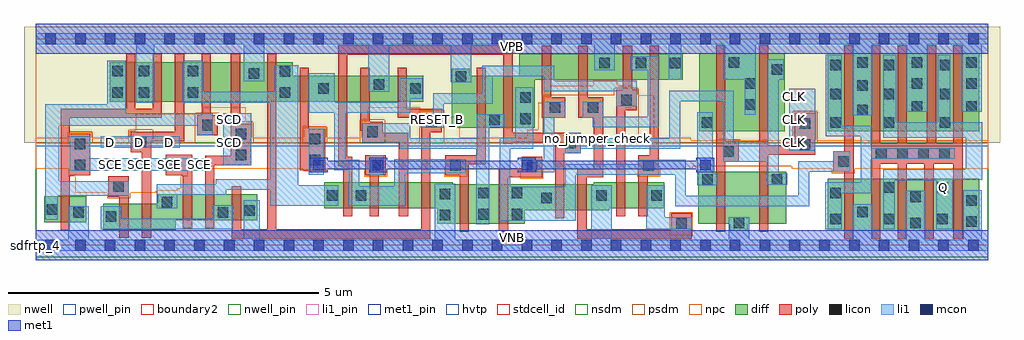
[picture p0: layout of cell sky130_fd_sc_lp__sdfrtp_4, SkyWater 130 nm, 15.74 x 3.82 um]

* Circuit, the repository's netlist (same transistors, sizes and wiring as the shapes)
* Copyright 2020 The SkyWater PDK Authors
*
* Licensed under the Apache License, Version 2.0 (the "License");
* you may not use this file except in compliance with the License.
* You may obtain a copy of the License at
*
*     https://www.apache.org/licenses/LICENSE-2.0
*
* Unless required by applicable law or agreed to in writing, software
* distributed under the License is distributed on an "AS IS" BASIS,
* WITHOUT WARRANTIES OR CONDITIONS OF ANY KIND, either express or implied.
* See the License for the specific language governing permissions and
* limitations under the License.
*
* SPDX-License-Identifier: Apache-2.0

.SUBCKT sky130_fd_sc_lp__sdfrtp_4 CLK D RESET_B SCD SCE VGND VNB VPB VPWR Q
*.PININFO CLK:I D:I RESET_B:I SCD:I SCE:I VGND:I VNB:I VPB:I VPWR:I
*.PININFO Q:O
MI642 clkneg CLK VGND VNB sky130_fd_pr__nfet_01v8 m=1 w=0.84U l=0.15U mult=1 sa=0.265
+ sb=0.265 sd=0.28 area=0.063 perim=1.14
MI636 clkpos clkneg VGND VNB sky130_fd_pr__nfet_01v8 m=1 w=0.84U l=0.15U mult=1
+ sa=0.265 sb=0.265 sd=0.28 area=0.063 perim=1.14
MI42 db clkneg M0 VNB sky130_fd_pr__nfet_01v8 m=1 w=0.42U l=0.15U mult=1 sa=0.265
+ sb=0.265 sd=0.28 area=0.063 perim=1.14
MI656 net062 s0 net048 VNB sky130_fd_pr__nfet_01v8 m=1 w=0.42U l=0.15U mult=1 sa=0.265
+ sb=0.265 sd=0.28 area=0.063 perim=1.14
MI657 net048 RESET_B VGND VNB sky130_fd_pr__nfet_01v8 m=1 w=0.42U l=0.15U mult=1
+ sa=0.265 sb=0.265 sd=0.28 area=0.063 perim=1.14
MI33 net069 RESET_B VGND VNB sky130_fd_pr__nfet_01v8 m=1 w=0.42U l=0.15U mult=1
+ sa=0.265 sb=0.265 sd=0.28 area=0.063 perim=1.14
MI634 sceb SCE VGND VNB sky130_fd_pr__nfet_01v8 m=1 w=0.42U l=0.15U mult=1 sa=0.265
+ sb=0.265 sd=0.28 area=0.063 perim=1.14
MI4 M0 clkpos net077 VNB sky130_fd_pr__nfet_01v8 m=1 w=0.42U l=0.15U mult=1 sa=0.265
+ sb=0.265 sd=0.28 area=0.063 perim=1.14
MI34 net077 M1 net069 VNB sky130_fd_pr__nfet_01v8 m=1 w=0.42U l=0.15U mult=1 sa=0.265
+ sb=0.265 sd=0.28 area=0.063 perim=1.14
MI655 s0 clkneg net061 VNB sky130_fd_pr__nfet_01v8 m=1 w=0.42U l=0.15U mult=1 sa=0.265
+ sb=0.265 sd=0.28 area=0.063 perim=1.14
MI652 net041 s0 VGND VNB sky130_fd_pr__nfet_01v8 m=1 w=0.84U l=0.15U mult=1 sa=0.265
+ sb=0.265 sd=0.28 area=0.063 perim=1.14
MI653 Q net041 VGND VNB sky130_fd_pr__nfet_01v8 m=4 w=0.84U l=0.15U mult=1 sa=0.265
+ sb=0.265 sd=0.28 area=0.063 perim=1.14
MI654 net061 net062 VGND VNB sky130_fd_pr__nfet_01v8 m=1 w=0.42U l=0.15U mult=1
+ sa=0.265 sb=0.265 sd=0.28 area=0.063 perim=1.14
MI647 M1 M0 VGND VNB sky130_fd_pr__nfet_01v8 m=1 w=0.64U l=0.15U mult=1 sa=0.265
+ sb=0.265 sd=0.28 area=0.063 perim=1.14
MI649 M1 clkpos s0 VNB sky130_fd_pr__nfet_01v8 m=1 w=0.64U l=0.15U mult=1 sa=0.265
+ sb=0.265 sd=0.28 area=0.063 perim=1.14
MI666 net84 RESET_B VGND VNB sky130_fd_pr__nfet_01v8 m=1 w=0.42U l=0.15U mult=1
+ sa=0.265 sb=0.265 sd=0.28 area=0.525 perim=3.1
MI98 db D n0 VNB sky130_fd_pr__nfet_01v8 m=1 w=0.42U l=0.15U mult=1 sa=0.265 sb=0.265
+ sd=0.28 area=0.525 perim=3.1
MI103 n1 SCD net84 VNB sky130_fd_pr__nfet_01v8 m=1 w=0.42U l=0.15U mult=1 sa=0.265
+ sb=0.265 sd=0.28 area=0.525 perim=3.1
MI120 db SCE n1 VNB sky130_fd_pr__nfet_01v8 m=1 w=0.42U l=0.15U mult=1 sa=0.265
+ sb=0.265 sd=0.28 area=0.525 perim=3.1
MI104 n0 sceb net84 VNB sky130_fd_pr__nfet_01v8 m=1 w=0.42U l=0.15U mult=1 sa=0.265
+ sb=0.265 sd=0.28 area=0.525 perim=3.1
MI643 clkneg CLK VPWR VPB sky130_fd_pr__pfet_01v8_hvt m=1 w=1.26U l=0.15U mult=1
+ sa=0.265 sb=0.265 sd=0.28 area=0.063 perim=1.14
MI635 clkpos clkneg VPWR VPB sky130_fd_pr__pfet_01v8_hvt m=1 w=1.26U l=0.15U mult=1
+ sa=0.265 sb=0.265 sd=0.28 area=0.063 perim=1.14
MI43 db clkpos M0 VPB sky130_fd_pr__pfet_01v8_hvt m=1 w=0.42U l=0.15U mult=1 sa=0.265
+ sb=0.265 sd=0.28 area=0.063 perim=1.14
MI662 net0133 net062 VPWR VPB sky130_fd_pr__pfet_01v8_hvt m=1 w=0.42U l=0.15U mult=1
+ sa=0.265 sb=0.265 sd=0.28 area=0.063 perim=1.14
MI659 net062 RESET_B VPWR VPB sky130_fd_pr__pfet_01v8_hvt m=1 w=0.42U l=0.15U mult=1
+ sa=0.265 sb=0.265 sd=0.28 area=0.063 perim=1.14
MI664 s0 clkpos net0133 VPB sky130_fd_pr__pfet_01v8_hvt m=1 w=0.42U l=0.15U mult=1
+ sa=0.265 sb=0.265 sd=0.28 area=0.063 perim=1.14
MI658 net062 s0 VPWR VPB sky130_fd_pr__pfet_01v8_hvt m=1 w=0.42U l=0.15U mult=1
+ sa=0.265 sb=0.265 sd=0.28 area=0.063 perim=1.14
MI30 net0156 M1 VPWR VPB sky130_fd_pr__pfet_01v8_hvt m=1 w=0.42U l=0.15U mult=1
+ sa=0.265 sb=0.265 sd=0.28 area=0.063 perim=1.14
MI31 M0 clkneg net0156 VPB sky130_fd_pr__pfet_01v8_hvt m=1 w=0.42U l=0.15U mult=1
+ sa=0.265 sb=0.265 sd=0.28 area=0.063 perim=1.14
MI32 M0 RESET_B VPWR VPB sky130_fd_pr__pfet_01v8_hvt m=1 w=0.42U l=0.15U mult=1
+ sa=0.265 sb=0.265 sd=0.28 area=0.063 perim=1.14
MI663 net041 s0 VPWR VPB sky130_fd_pr__pfet_01v8_hvt m=1 w=1.26U l=0.15U mult=1
+ sa=0.265 sb=0.265 sd=0.28 area=0.063 perim=1.14
MI660 Q net041 VPWR VPB sky130_fd_pr__pfet_01v8_hvt m=4 w=1.26U l=0.15U mult=1
+ sa=0.265 sb=0.265 sd=0.28 area=0.063 perim=1.14
MI648 M1 M0 VPWR VPB sky130_fd_pr__pfet_01v8_hvt m=1 w=0.84U l=0.15U mult=1 sa=0.265
+ sb=0.265 sd=0.28 area=0.063 perim=1.14
MI650 M1 clkneg s0 VPB sky130_fd_pr__pfet_01v8_hvt m=1 w=0.84U l=0.15U mult=1 sa=0.265
+ sb=0.265 sd=0.28 area=0.063 perim=1.14
MI633 sceb SCE VPWR VPB sky130_fd_pr__pfet_01v8_hvt m=1 w=0.64U l=0.15U mult=1
+ sa=0.265 sb=0.265 sd=0.28 area=0.063 perim=1.14
MI101 db sceb p1 VPB sky130_fd_pr__pfet_01v8_hvt m=1 w=0.64U l=0.15U mult=1 sa=0.265
+ sb=0.265 sd=0.28 area=0.063 perim=1.14
MI107 p0 SCE VPWR VPB sky130_fd_pr__pfet_01v8_hvt m=1 w=0.64U l=0.15U mult=1 sa=0.265
+ sb=0.265 sd=0.28 area=0.063 perim=1.14
MI94 db D p0 VPB sky130_fd_pr__pfet_01v8_hvt m=1 w=0.64U l=0.15U mult=1 sa=0.265
+ sb=0.265 sd=0.28 area=0.063 perim=1.14
MI108 p1 SCD VPWR VPB sky130_fd_pr__pfet_01v8_hvt m=1 w=0.64U l=0.15U mult=1 sa=0.265
+ sb=0.265 sd=0.28 area=0.063 perim=1.14
MI665 db RESET_B VPWR VPB sky130_fd_pr__pfet_01v8_hvt m=1 w=0.64U l=0.15U mult=1
+ sa=0.265 sb=0.265 sd=0.28 area=0.063 perim=1.14
.ENDS sky130_fd_sc_lp__sdfrtp_4

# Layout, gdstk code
import gdstk
lib = gdstk.Library(unit=1e-6, precision=1e-09)
def R(c, l, rs):  # rectangles x0, y0, x1, y1
    for r in rs: c.add(gdstk.rectangle(r[:2], r[2:], *l))
def A(c, l, x, y, w, h, nx, ny, dx, dy):  # array of equal rectangles
    R(c, l, [(x+i*dx, y+j*dy, x+i*dx+w, y+j*dy+h) for i in range(nx) for j in range(ny)])
def P(c, l, *ps):  # polygons
    for p in ps: c.add(gdstk.Polygon(p, *l))
nwell_pin = (64, 16)
nwell = (64, 20)
diff = (65, 20)
poly = (66, 20)
licon = (66, 44)
li1_pin = (67, 16)
li1 = (67, 20)
mcon = (67, 44)
met1_pin = (68, 16)
met1 = (68, 20)
hvtp = (78, 44)
stdcell_id = (81, 4)
nsdm = (93, 44)
psdm = (94, 20)
npc = (95, 20)
pwell_pin = (122, 16)
boundary2 = (236, 0)

sky130_fd_sc_lp__sdfrtp_ = lib.new_cell('sky130_fd_sc_lp__sdfrtp_4')
R(sky130_fd_sc_lp__sdfrtp_, nwell_pin, [(0,3.085,15.36,3.33)])
R(sky130_fd_sc_lp__sdfrtp_, nwell, [(-0.19,1.655,15.55,3.52)])
R(sky130_fd_sc_lp__sdfrtp_, diff, [(12.775,0.235,15.215,1.075), (0.135,0.37,0.815,0.79), (10.7,1.835,12.08,3.095), (12.775,1.835,15.215,3.095)])
P(sky130_fd_sc_lp__sdfrtp_, diff, [(6.25,2.735),(4.145,2.735),(4.145,2.955),(1.19,2.955),(1.19,2.315),(6.25,2.315)],
  [(10.43,3.085),(7.8,3.085),(7.8,2.735),(7,2.735),(7,2.845),(6.71,2.845),(6.71,1.895),(8.05,1.895),(8.05,2.665),(10.43,2.665)],
  [(10.135,1.015),(8.995,1.015),(8.995,0.985),(6.725,0.985),(6.725,1.015),(4.655,1.015),(4.655,0.595),(6.475,0.595),(6.475,0.345),(7.885,0.345),(7.885,0.565),(9.245,0.565),(9.245,0.595),(10.135,0.595)],
  [(3.575,0.825),(1.97,0.825),(1.97,0.67),(1.085,0.67),(1.085,0.25),(2.26,0.25),(2.26,0.405),(3.575,0.405)],
  [(12.1,1.185),(10.685,1.185),(10.685,0.345),(11.195,0.345),(11.195,0.235),(11.485,0.235),(11.485,0.345),(12.1,0.345)])
P(sky130_fd_sc_lp__sdfrtp_, poly, [(3.475,1.96),(3.295,1.96),(3.295,3.085),(3.145,3.085),(3.145,1.44),(2.73,1.44),(2.73,0.275),(2.88,0.275),(2.88,1.29),(3.475,1.29)],
  [(1.5,1.11),(1.17,1.11),(1.17,0.78),(1.35,0.78),(1.35,0.12),(1.5,0.12)],
  [(2.035,3.085),(1.885,3.085),(1.885,2.205),(1.605,2.205),(1.605,3.085),(1.455,3.085),(1.455,2.205),(0.4,2.205),(0.4,0.24),(0.55,0.24),(0.55,1.13),(0.88,1.13),(0.88,1.8),(0.55,1.8),(0.55,2.055),(2.035,2.055)],
  [(2.395,3.085),(2.245,3.085),(2.245,1.83),(1.53,1.83),(1.53,1.5),(1.71,1.5),(1.71,0.12),(1.86,0.12),(1.86,1.68),(2.395,1.68)],
  [(2.52,1.46),(2.1,1.46),(2.1,1.13),(2.37,1.13),(2.37,0.275),(2.52,0.275)],
  [(4.665,1.88),(4.405,1.88),(4.405,2.865),(4.255,2.865),(4.255,1.21),(4.665,1.21)],
  [(8.165,1.425),(7.835,1.425),(7.835,1.245),(7.47,1.245),(7.47,0.215),(7.62,0.215),(7.62,1.095),(8.165,1.095)],
  [(2.935,2.1),(2.825,2.1),(2.825,3.085),(2.675,3.085),(2.675,2.1),(2.605,2.1),(2.605,1.77),(2.935,1.77)],
  [(8.54,2.385),(8.31,2.385),(8.31,3.215),(8.16,3.215),(8.16,2.055),(8.54,2.055)],
  [(8.79,1.815),(7.69,1.815),(7.69,3.225),(4.875,3.225),(4.875,1.275),(4.955,1.275),(4.955,0.465),(5.105,0.465),(5.105,1.425),(5.025,1.425),(5.025,3.075),(7.54,3.075),(7.54,1.635),(7.69,1.635),(7.69,1.665),(8.375,1.665),(8.375,0.435),(8.525,0.435),(8.525,1.485),(8.79,1.485)],
  [(5.645,1.455),(5.315,1.455),(5.315,1.125),(5.385,1.125),(5.385,0.465),(5.535,0.465),(5.535,1.125),(5.645,1.125)],
  [(6.005,1.815),(5.595,1.815),(5.595,1.995),(5.385,1.995),(5.385,2.865),(5.235,2.865),(5.235,1.845),(5.265,1.845),(5.265,1.665),(5.855,1.665),(5.855,0.465),(6.005,0.465)],
  [(6.55,2.205),(5.985,2.205),(5.985,2.865),(5.835,2.865),(5.835,2.055),(6.215,2.055),(6.215,0.255),(3.88,0.255),(3.88,3.085),(3.73,3.085),(3.73,0.255),(3.31,0.255),(3.31,0.955),(3.16,0.955),(3.16,0.105),(6.365,0.105),(6.365,1.825),(6.55,1.825)],
  [(7.26,2.865),(7.11,2.865),(7.11,1.455),(6.605,1.455),(6.605,1.125),(6.835,1.125),(6.835,0.215),(6.985,0.215),(6.985,1.305),(7.26,1.305)],
  [(9.69,2.505),(9.62,2.505),(9.62,3.215),(9.47,3.215),(9.47,2.505),(9.36,2.505),(9.36,0.465),(9.51,0.465),(9.51,2.175),(9.69,2.175)],
  [(10.05,3.215),(9.9,3.215),(9.9,1.455),(9.72,1.455),(9.72,0.465),(9.87,0.465),(9.87,1.125),(10.05,1.125)],
  [(10.575,0.515),(10.245,0.515),(10.245,0.255),(8.885,0.255),(8.885,1.095),(9.15,1.095),(9.15,2.385),(8.9,2.385),(8.9,3.215),(8.75,3.215),(8.75,2.055),(9,2.055),(9,1.245),(8.735,1.245),(8.735,0.105),(10.575,0.105)],
  [(11.34,1.675),(11.12,1.675),(11.12,3.225),(10.97,3.225),(10.97,0.215),(11.12,0.215),(11.12,1.345),(11.34,1.345)],
  [(12.57,2.13),(12.24,2.13),(12.24,1.61),(11.815,1.61),(11.815,3.225),(11.665,3.225),(11.665,0.215),(11.815,0.215),(11.815,1.46),(12.57,1.46)],
  [(13.19,3.225),(13.04,3.225),(13.04,1.515),(12.86,1.515),(12.86,1.185),(13.04,1.185),(13.04,0.105),(13.19,0.105)],
  [(14.95,3.225),(14.8,3.225),(14.8,1.645),(14.52,1.645),(14.52,3.225),(14.37,3.225),(14.37,1.645),(14.05,1.645),(14.05,3.225),(13.9,3.225),(13.9,1.645),(13.62,1.645),(13.62,3.225),(13.47,3.225),(13.47,0.105),(13.62,0.105),(13.62,1.315),(13.9,1.315),(13.9,0.105),(14.05,0.105),(14.05,1.315),(14.33,1.315),(14.33,0.105),(14.48,0.105),(14.48,1.315),(14.8,1.315),(14.8,0.105),(14.95,0.105)])
A(sky130_fd_sc_lp__sdfrtp_, licon, 12.815, 0.335, 0.17, 0.17, 3, 1, 0.86, 0)
A(sky130_fd_sc_lp__sdfrtp_, licon, 13.55, 1.395, 0.17, 0.17, 4, 1, 0.34, 0)
A(sky130_fd_sc_lp__sdfrtp_, licon, 13.245, 2.865, 0.17, 0.17, 3, 1, 0.88, 0)
R(sky130_fd_sc_lp__sdfrtp_, licon, [(10.325,0.265,10.495,0.435), (11.255,0.275,11.425,0.445), (14.105,0.275,14.275,0.445), (15.005,0.295,15.175,0.465), (1.125,0.375,1.295,0.545), (6.515,0.405,6.685,0.575), (7.135,0.415,7.305,0.585), (7.675,0.415,7.845,0.585), (0.605,0.44,0.775,0.61), (2.935,0.445,3.105,0.615), (13.245,0.45,13.415,0.62), (3.365,0.475,3.535,0.645), (0.175,0.495,0.345,0.665), (2.03,0.615,2.2,0.785), (15.005,0.635,15.175,0.805), (8.15,0.68,8.32,0.85), (14.105,0.695,14.275,0.865), (9.035,0.715,9.205,0.885), (9.925,0.715,10.095,0.885), (4.695,0.72,4.865,0.89), (5.16,0.72,5.33,0.89), (6.515,0.745,6.685,0.915), (7.135,0.755,7.305,0.925), (7.675,0.755,7.845,0.925), (12.815,0.755,12.985,0.925), (13.675,0.845,13.845,1.015), (14.535,0.845,14.705,1.015), (1.25,0.86,1.42,1.03), (10.745,0.975,10.915,1.145), (11.87,0.975,12.04,1.145), (7.915,1.175,8.085,1.345), (5.395,1.205,5.565,1.375), (6.685,1.205,6.855,1.375), (9.8,1.205,9.97,1.375), (0.63,1.21,0.8,1.38), (2.18,1.21,2.35,1.38), (12.94,1.265,13.11,1.435), (4.415,1.29,4.585,1.46), (3.225,1.37,3.395,1.54), (11.09,1.425,11.26,1.595), (12.32,1.54,12.49,1.71), (0.63,1.55,0.8,1.72), (8.54,1.565,8.71,1.735), (1.61,1.58,1.78,1.75), (4.415,1.63,4.585,1.8), (3.225,1.71,3.395,1.88), (5.345,1.745,5.515,1.915), (2.685,1.85,2.855,2.02), (12.32,1.88,12.49,2.05), (10.74,1.895,10.91,2.065), (12.815,1.895,12.985,2.065), (13.675,1.895,13.845,2.065), (14.575,1.895,14.745,2.065), (6.3,1.905,6.47,2.075), (7.315,1.935,7.485,2.105), (7.815,1.955,7.985,2.125), (13.245,2.095,13.415,2.265), (8.29,2.135,8.46,2.305), (8.9,2.135,9.07,2.305), (14.125,2.155,14.295,2.325), (15.005,2.155,15.175,2.325), (11.44,2.185,11.61,2.355), (9.44,2.255,9.61,2.425), (7.815,2.295,7.985,2.465), (12.815,2.355,12.985,2.525), (13.675,2.355,13.845,2.525), (14.575,2.355,14.745,2.525), (1.23,2.375,1.4,2.545), (1.66,2.375,1.83,2.545), (2.45,2.375,2.62,2.545), (3.935,2.375,4.105,2.545), (4.555,2.44,4.725,2.61), (6.04,2.44,6.21,2.61), (13.245,2.49,13.415,2.66), (5.45,2.505,5.62,2.675), (11.44,2.525,11.61,2.695), (14.125,2.525,14.295,2.695), (15.005,2.525,15.175,2.695), (6.77,2.635,6.94,2.805), (3.435,2.685,3.605,2.855), (3.935,2.715,4.105,2.885), (1.23,2.725,1.4,2.895), (1.66,2.725,1.83,2.895), (2.45,2.725,2.62,2.895), (11.87,2.75,12.04,2.92), (12.815,2.825,12.985,2.995), (13.675,2.825,13.845,2.995), (14.575,2.825,14.745,2.995), (9.085,2.855,9.255,3.025), (9.675,2.855,9.845,3.025), (10.22,2.855,10.39,3.025), (11.175,2.865,11.345,3.035)])
A(sky130_fd_sc_lp__sdfrtp_, li1_pin, 1.115, 1.21, 0.17, 0.17, 4, 1, 0.48, 0)
A(sky130_fd_sc_lp__sdfrtp_, li1_pin, 1.115, 1.58, 0.17, 0.17, 3, 1, 0.48, 0)
A(sky130_fd_sc_lp__sdfrtp_, li1_pin, 12.155, 1.58, 0.17, 0.17, 1, 3, 0, 0.37)
R(sky130_fd_sc_lp__sdfrtp_, li1_pin, [(14.555,0.84,14.725,1.01), (3.035,1.58,3.205,1.75), (3.035,1.95,3.205,2.12), (6.395,1.95,6.565,2.12)])
R(sky130_fd_sc_lp__sdfrtp_, li1, [(5.385,1.125,5.615,1.455), (4.405,1.14,4.645,1.88), (3.025,1.29,3.475,2.125), (12.155,1.525,12.57,2.525), (1.05,1.57,2.325,1.76)])
P(sky130_fd_sc_lp__sdfrtp_, li1, [(8.955,0.085),(8.955,0.965),(9.285,0.965),(9.285,0.085),(11.175,0.085),(11.175,0.455),(11.505,0.455),(11.505,0.085),(13.165,0.085),(13.165,0.665),(13.495,0.665),(13.495,0.085),(14.025,0.085),(14.025,0.875),(14.355,0.875),(14.355,0.085),(14.96,0.085),(14.96,0.885),(15.255,0.885),(15.255,0.085),(15.36,0.085),(15.36,-0.085),(0,-0.085),(0,0.085),(0.525,0.085),(0.525,0.625),(0.855,0.625),(0.855,0.085),(3.355,0.085),(3.355,0.725),(3.615,0.725),(3.615,0.085),(6.435,0.085),(6.435,0.995),(6.765,0.995),(6.765,0.085)],
  [(13.305,1.015),(13.305,1.755),(12.74,1.755),(12.74,3.075),(12.995,3.075),(12.995,1.925),(13.475,1.925),(13.475,1.565),(14.82,1.565),(14.82,1.395),(13.475,1.395),(13.475,0.835),(12.995,0.835),(12.995,0.255),(12.735,0.255),(12.735,1.015)],
  [(8.19,1.38),(8.19,2.315),(8.54,2.315),(8.54,2.055),(8.36,2.055),(8.36,1.175),(7.835,1.175),(7.835,1.38)],
  [(5.045,0.64),(5.045,1.21),(4.815,1.21),(4.815,2.135),(4.405,2.135),(4.405,2.775),(4.825,2.775),(4.825,2.305),(5.87,2.305),(5.87,2.69),(6.24,2.69),(6.24,2.36),(6.04,2.36),(6.04,2.135),(4.995,2.135),(4.995,1.38),(5.215,1.38),(5.215,0.955),(5.785,0.955),(5.785,1.385),(6.935,1.385),(6.935,1.165),(5.955,1.165),(5.955,0.64)],
  [(9.845,0.255),(9.845,0.965),(10.145,0.965),(10.145,0.455),(10.575,0.455),(10.575,0.255)],
  [(0.88,1.4),(2.805,1.4),(2.805,1.205),(0.55,1.205),(0.55,1.76),(0.88,1.76)],
  [(8.36,2.895),(8.36,2.655),(9.69,2.655),(9.69,2.245),(9.36,2.245),(9.36,2.485),(8.19,2.485),(8.19,2.725),(7.37,2.725),(7.37,2.285),(6.58,2.285),(6.58,1.895),(6.21,1.895),(6.21,2.13),(6.41,2.13),(6.41,2.455),(7.2,2.455),(7.2,2.895)],
  [(3.855,2.475),(3.855,2.905),(4.235,2.905),(4.235,0.97),(4.875,0.97),(4.875,0.64),(3.785,0.64),(3.785,0.895),(3.075,0.895),(3.075,0.815),(2.28,0.815),(2.28,0.595),(1.95,0.595),(1.95,0.985),(2.905,0.985),(2.905,1.065),(3.78,1.065),(3.78,2.295),(2.37,2.295),(2.37,2.975),(2.7,2.975),(2.7,2.475)],
  [(6.04,1.965),(6.04,1.725),(7.115,1.725),(7.115,2.115),(7.565,2.115),(7.565,1.9),(7.315,1.9),(7.315,0.335),(7.105,0.335),(7.105,1.555),(5.87,1.555),(5.87,1.665),(5.265,1.665),(5.265,1.965)],
  [(13.875,1.985),(14.545,1.985),(14.545,3.075),(14.745,3.075),(14.745,1.985),(15.26,1.985),(15.26,1.055),(14.79,1.055),(14.79,0.255),(14.525,0.255),(14.525,1.045),(13.855,1.045),(13.855,0.255),(13.665,0.255),(13.665,1.225),(15,1.225),(15,1.735),(13.665,1.735),(13.665,3.075),(13.875,3.075)],
  [(10.92,1.165),(10.995,1.165),(10.995,0.965),(10.665,0.965),(10.665,2.145),(10.92,2.145)],
  [(9.87,2.075),(9.87,2.825),(9.595,2.825),(9.595,3.045),(10.04,3.045),(10.04,1.905),(8.98,1.905),(8.98,2.055),(8.82,2.055),(8.82,2.315),(9.15,2.315),(9.15,2.075)],
  [(7.735,1.73),(7.735,2.545),(8.02,2.545),(8.02,1.56),(7.655,1.56),(7.655,0.945),(8.54,0.945),(8.54,1.305),(9.72,1.305),(9.72,1.375),(10.485,1.375),(10.485,0.795),(12.3,0.795),(12.3,1.355),(12.86,1.355),(12.86,1.515),(13.135,1.515),(13.135,1.185),(12.47,1.185),(12.47,0.625),(10.315,0.625),(10.315,1.135),(8.71,1.135),(8.71,0.395),(7.485,0.395),(7.485,1.73)],
  [(1.15,2.275),(1.15,2.975),(1.45,2.975),(1.45,2.125),(2.855,2.125),(2.855,1.77),(2.605,1.77),(2.605,1.93),(0.38,1.93),(0.38,1.03),(1.5,1.03),(1.5,0.795),(0.355,0.795),(0.355,0.415),(0.155,0.415),(0.155,2.275)],
  [(11.79,1.345),(11.09,1.345),(11.09,2.325),(10.39,2.325),(10.39,1.555),(8.79,1.555),(8.79,1.485),(8.53,1.485),(8.53,1.815),(8.79,1.815),(8.79,1.725),(10.22,1.725),(10.22,2.495),(11.26,2.495),(11.26,1.675),(11.805,1.675),(11.805,3),(12.06,3),(12.06,2.67),(11.985,2.67),(11.985,1.165),(12.12,1.165),(12.12,0.975),(11.79,0.975)],
  [(1.375,0.425),(2.855,0.425),(2.855,0.645),(3.185,0.645),(3.185,0.255),(1.045,0.255),(1.045,0.625),(1.375,0.625)],
  [(15.36,3.415),(0,3.415),(0,3.245),(1.62,3.245),(1.62,2.295),(1.91,2.295),(1.91,3.245),(3.355,3.245),(3.355,2.645),(3.685,2.645),(3.685,3.245),(5.36,3.245),(5.36,2.475),(5.7,2.475),(5.7,3.245),(6.69,3.245),(6.69,2.625),(7.02,2.625),(7.02,3.245),(9.005,3.245),(9.005,2.825),(9.335,2.825),(9.335,3.245),(10.21,3.245),(10.21,2.665),(10.41,2.665),(10.41,3.245),(11.095,3.245),(11.095,2.665),(11.43,2.665),(11.43,2.105),(11.61,2.105),(11.61,3.245),(13.165,3.245),(13.165,2.095),(13.495,2.095),(13.495,3.245),(14.045,3.245),(14.045,2.155),(14.375,2.155),(14.375,3.245),(14.925,3.245),(14.925,2.155),(15.255,2.155),(15.255,3.245),(15.36,3.245)])
A(sky130_fd_sc_lp__sdfrtp_, mcon, 0.155, -0.085, 0.17, 0.17, 32, 2, 0.48, 3.33)
R(sky130_fd_sc_lp__sdfrtp_, mcon, [(4.475,1.21,4.645,1.38), (5.435,1.21,5.605,1.38), (7.835,1.21,8.005,1.38), (10.715,1.21,10.885,1.38)])
R(sky130_fd_sc_lp__sdfrtp_, met1_pin, [(0,0,15.36,0.245), (0,3.085,15.36,3.33)])
R(sky130_fd_sc_lp__sdfrtp_, met1, [(0,-0.245,15.36,0.245), (0,3.085,15.36,3.575)])
P(sky130_fd_sc_lp__sdfrtp_, met1, [(4.705,1.365),(5.375,1.365),(5.375,1.41),(5.665,1.41),(5.665,1.365),(7.775,1.365),(7.775,1.41),(8.065,1.41),(8.065,1.365),(10.655,1.365),(10.655,1.41),(10.945,1.41),(10.945,1.18),(10.655,1.18),(10.655,1.225),(8.065,1.225),(8.065,1.18),(7.775,1.18),(7.775,1.225),(5.665,1.225),(5.665,1.18),(5.375,1.18),(5.375,1.225),(4.705,1.225),(4.705,1.18),(4.415,1.18),(4.415,1.41),(4.705,1.41)])
R(sky130_fd_sc_lp__sdfrtp_, hvtp, [(0,1.6,15.36,3.33)])
R(sky130_fd_sc_lp__sdfrtp_, stdcell_id, [(0,0,15.36,3.33)])
R(sky130_fd_sc_lp__sdfrtp_, nsdm, [(0,-0.19,15.36,1.655)])
P(sky130_fd_sc_lp__sdfrtp_, psdm, [(15.36,3.52),(0,3.52),(0,1.655),(0.52,1.655),(0.52,1.83),(0.91,1.83),(0.91,1.655),(1.5,1.655),(1.5,1.86),(1.89,1.86),(1.89,1.655),(2.575,1.655),(2.575,2.13),(2.965,2.13),(2.965,1.99),(3.505,1.99),(3.505,1.655),(4.305,1.655),(4.305,1.91),(4.695,1.91),(4.695,1.655),(5.235,1.655),(5.235,2.025),(5.625,2.025),(5.625,1.655),(6.19,1.655),(6.19,2.185),(6.58,2.185),(6.58,1.655),(8.18,1.655),(8.18,2.415),(9.33,2.415),(9.33,2.535),(9.72,2.535),(9.72,1.655),(10.98,1.655),(10.98,1.705),(11.37,1.705),(11.37,1.655),(12.21,1.655),(12.21,2.16),(12.6,2.16),(12.6,1.655),(13.44,1.655),(13.44,1.675),(14.85,1.675),(14.85,1.655),(15.36,1.655)])
R(sky130_fd_sc_lp__sdfrtp_, npc, [(10.225,0.165,10.595,0.535)])
P(sky130_fd_sc_lp__sdfrtp_, npc, [(15.36,1.695),(12.59,1.695),(12.59,2.15),(12.22,2.15),(12.22,1.695),(10.56,1.695),(10.56,1.73),(9.975,1.73),(9.975,2.42),(9.71,2.42),(9.71,2.525),(9.605,2.525),(9.605,2.575),(9.38,2.575),(9.38,2.67),(8.99,2.67),(8.99,2.575),(8.295,2.575),(8.295,2.405),(8.19,2.405),(8.19,2.3),(8.1,2.3),(8.1,1.865),(7.925,1.865),(7.925,1.73),(6.835,1.73),(6.835,2.07),(6.57,2.07),(6.57,2.175),(6.2,2.175),(6.2,2.225),(5.35,2.225),(5.35,2.015),(5.245,2.015),(5.245,1.73),(4.685,1.73),(4.685,1.9),(4.315,1.9),(4.315,1.73),(3.495,1.73),(3.495,1.98),(3.39,1.98),(3.39,2.225),(2.69,2.225),(2.69,2.12),(2.585,2.12),(2.585,2.115),(1.615,2.115),(1.615,1.85),(1.51,1.85),(1.51,1.73),(0.9,1.73),(0.9,1.82),(0.53,1.82),(0.53,1.73),(0,1.73),(0,1.23),(0.53,1.23),(0.53,1.11),(0.635,1.11),(0.635,0.88),(0.64,0.88),(0.64,0.845),(1.15,0.845),(1.15,0.76),(1.52,0.76),(1.52,0.845),(1.94,0.845),(1.94,0.875),(2.28,0.875),(2.28,0.915),(2.345,0.915),(2.345,1.11),(2.45,1.11),(2.45,1.23),(4.315,1.23),(4.315,1.19),(4.685,1.19),(4.685,1.23),(5.295,1.23),(5.295,1.105),(5.665,1.105),(5.665,1.23),(6.585,1.23),(6.585,1.105),(6.955,1.105),(6.955,1.23),(7.815,1.23),(7.815,1.075),(8.185,1.075),(8.185,1.23),(9.7,1.23),(9.7,1.105),(10.07,1.105),(10.07,1.23),(10.595,1.23),(10.595,1.275),(12.19,1.275),(12.19,1.23),(12.84,1.23),(12.84,1.165),(13.21,1.165),(13.21,1.23),(15.36,1.23)])
R(sky130_fd_sc_lp__sdfrtp_, pwell_pin, [(0,0,15.36,0.245)])
R(sky130_fd_sc_lp__sdfrtp_, boundary2, [(0,0,15.36,3.33)])
sky130_fd_sc_lp__sdfrtp_.add(gdstk.Label('VNB', (7.68,0.123), layer=64, texttype=59))
sky130_fd_sc_lp__sdfrtp_.add(gdstk.Label('VPB', (7.68,3.208), layer=64, texttype=5))
sky130_fd_sc_lp__sdfrtp_.add(gdstk.Label('sdfrtp_4', (0,0), layer=83, texttype=44))
sky130_fd_sc_lp__sdfrtp_.add(gdstk.Label('no_jumper_check', (9.06,1.725), layer=83, texttype=44))
sky130_fd_sc_lp__sdfrtp_.add(gdstk.Label('VPWR', (7.68,3.208), layer=68, texttype=5))
sky130_fd_sc_lp__sdfrtp_.add(gdstk.Label('VGND', (7.68,0.123), layer=68, texttype=5))
sky130_fd_sc_lp__sdfrtp_.add(gdstk.Label('SCE', (1.2,1.295), layer=67, texttype=5))
sky130_fd_sc_lp__sdfrtp_.add(gdstk.Label('SCE', (1.68,1.295), layer=67, texttype=5))
sky130_fd_sc_lp__sdfrtp_.add(gdstk.Label('SCE', (2.16,1.295), layer=67, texttype=5))
sky130_fd_sc_lp__sdfrtp_.add(gdstk.Label('SCE', (2.64,1.295), layer=67, texttype=5))
sky130_fd_sc_lp__sdfrtp_.add(gdstk.Label('RESET_B', (6.48,2.035), layer=67, texttype=5))
sky130_fd_sc_lp__sdfrtp_.add(gdstk.Label('CLK', (12.24,1.665), layer=67, texttype=5))
sky130_fd_sc_lp__sdfrtp_.add(gdstk.Label('CLK', (12.24,2.035), layer=67, texttype=5))
sky130_fd_sc_lp__sdfrtp_.add(gdstk.Label('CLK', (12.24,2.405), layer=67, texttype=5))
sky130_fd_sc_lp__sdfrtp_.add(gdstk.Label('SCD', (3.12,1.665), layer=67, texttype=5))
sky130_fd_sc_lp__sdfrtp_.add(gdstk.Label('SCD', (3.12,2.035), layer=67, texttype=5))
sky130_fd_sc_lp__sdfrtp_.add(gdstk.Label('D', (1.2,1.665), layer=67, texttype=5))
sky130_fd_sc_lp__sdfrtp_.add(gdstk.Label('D', (1.68,1.665), layer=67, texttype=5))
sky130_fd_sc_lp__sdfrtp_.add(gdstk.Label('D', (2.16,1.665), layer=67, texttype=5))
sky130_fd_sc_lp__sdfrtp_.add(gdstk.Label('Q', (14.64,0.925), layer=67, texttype=5))

lib.write_gds('sky130_fd_sc_lp__sdfrtp_4.gds')
